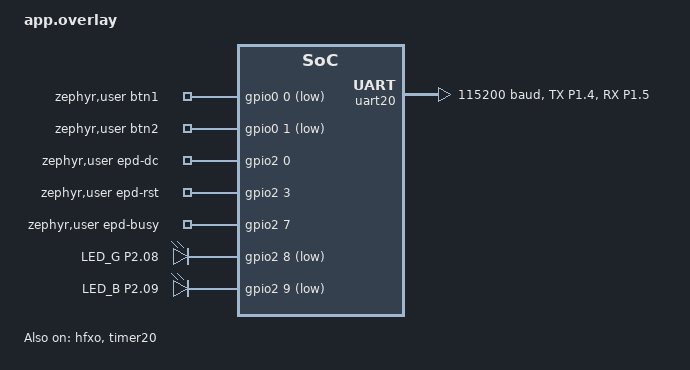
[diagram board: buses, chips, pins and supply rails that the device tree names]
/*
 * zigbee_ed — eink_tag rev_b GPIO + Zigbee R23 + EPD 4.2"（bit-bang）
 *
 * UART20: TX=P1.04  RX=P1.05
 * LED_G/B: P2.08 / P2.09 ACTIVE_LOW
 * BTN1/2:  P0.00 / P0.01 ACTIVE_LOW + PULL_UP
 * EPD:     SCK=P2.01 MOSI=P2.02 CS=P2.05 DC=P2.00 RST=P2.03 BUSY=P2.07
 */

#include <zephyr/dt-bindings/gpio/gpio.h>
#include <zephyr/dt-bindings/pinctrl/nrf-pinctrl.h>

/* 分区由 Partition Manager / pm_static.yml（MCUBoot + zboss）管理 */

&pinctrl {
	uart20_default: uart20_default {
		group1 {
			psels = <NRF_PSEL(UART_TX, 1, 4)>;
		};
		group2 {
			psels = <NRF_PSEL(UART_RX, 1, 5)>;
			bias-pull-up;
		};
	};

	uart20_sleep: uart20_sleep {
		group1 {
			psels = <NRF_PSEL(UART_TX, 1, 4)>,
				<NRF_PSEL(UART_RX, 1, 5)>;
			low-power-enable;
		};
	};
};

&uart20 {
	status = "okay";
	current-speed = <115200>;
	pinctrl-0 = <&uart20_default>;
	pinctrl-1 = <&uart20_sleep>;
	pinctrl-names = "default", "sleep";
};

/* EPD 用 GPIO bit-bang；关掉 DK NOR，避免占脚 */
&spi00 {
	status = "disabled";
};

&mx25r64 {
	status = "disabled";
};

/* MCUBoot：勿扩到 1524KB（否则 PM 在 0x165000 后多出 gap）。用板级默认 1428KB。 */

&pwm20 {
	status = "disabled";
};

&pwm_led1 {
	status = "disabled";
};

&button1 {
	status = "disabled";
};

&led0 {
	gpios = <&gpio2 8 GPIO_ACTIVE_LOW>;
	label = "LED_G P2.08";
};

&led1 {
	gpios = <&gpio2 9 GPIO_ACTIVE_LOW>;
	label = "LED_B P2.09";
};

&led2 {
	status = "disabled";
};

&led3 {
	status = "disabled";
};

&nfct {
	status = "disabled";
};

&hfxo {
	status = "okay";
	/* 无外挂电容：自制板 15pF 常温难起、升温才振 → 先拉满内部上限 17pF。
	 * 最终应按晶振规格书 CL 微调（合法步进 250fF，最大 17000）。 */
	load-capacitors = "internal";
	load-capacitance-femtofarad = <17000>;
};

&timer20 {
	status = "okay";
};

&gpio0 {
	status = "okay";
};

&gpio1 {
	status = "okay";
};

&gpio2 {
	status = "okay";
};

/ {
	chosen {
		ncs,zigbee-timer = &timer20;
	};

	zephyr,user {
		btn1-gpios = <&gpio0 0 (GPIO_ACTIVE_LOW | GPIO_PULL_UP)>;
		btn2-gpios = <&gpio0 1 (GPIO_ACTIVE_LOW | GPIO_PULL_UP)>;

		/* rev_b EPD：DC/RST/BUSY 走 DT；SCK/MOSI/CS 在 epd_board 内 bit-bang */
		epd-dc-gpios = <&gpio2 0 GPIO_ACTIVE_HIGH>;
		epd-rst-gpios = <&gpio2 3 GPIO_ACTIVE_HIGH>;
		epd-busy-gpios = <&gpio2 7 (GPIO_ACTIVE_HIGH | GPIO_PULL_UP)>;
	};
};
